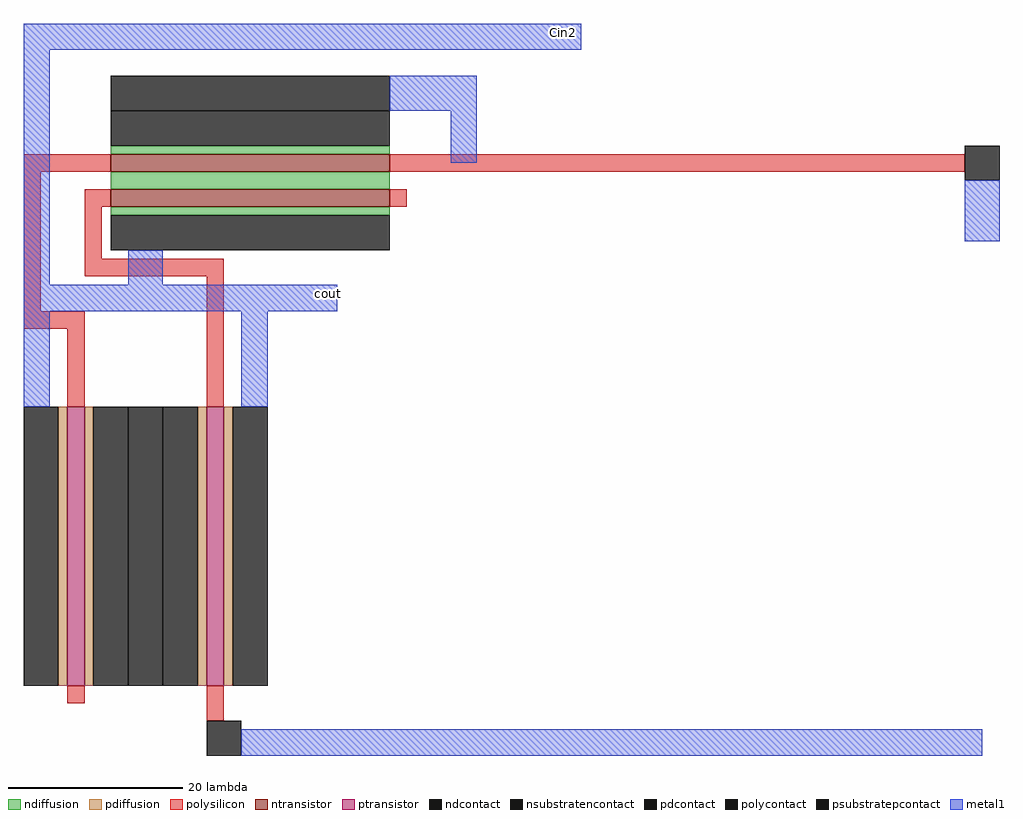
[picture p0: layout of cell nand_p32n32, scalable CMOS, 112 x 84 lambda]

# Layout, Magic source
magic
tech scmos
<< polysilicon >>
rect -15 30 -5 32
rect 27 30 93 32
rect -15 14 -13 30
rect -8 26 -5 28
rect 27 26 29 28
rect -8 20 -6 26
rect -8 18 8 20
rect -15 12 -8 14
rect -10 3 -8 12
rect 6 3 8 18
rect -10 -31 -8 -29
rect 6 -33 8 -29
<< ndiffusion >>
rect -5 32 27 33
rect -5 28 27 30
rect -5 25 27 26
<< pdiffusion >>
rect -11 -29 -10 3
rect -8 -29 -7 3
rect 5 -29 6 3
rect 8 -29 9 3
<< metal1 >>
rect -15 44 49 47
rect -15 17 -12 44
rect 27 37 37 41
rect 34 31 37 37
rect 93 22 97 29
rect -3 17 1 21
rect -15 14 21 17
rect -15 3 -12 14
rect 10 3 13 14
rect 10 -37 95 -34
<< ntransistor >>
rect -5 30 27 32
rect -5 26 27 28
<< ptransistor >>
rect -10 -29 -8 3
rect 6 -29 8 3
<< polycontact >>
rect 93 29 97 33
rect 6 -37 10 -33
<< ndcontact >>
rect -5 33 27 37
rect -5 21 27 25
<< pdcontact >>
rect -15 -29 -11 3
rect -7 -29 -3 3
rect 1 -29 5 3
rect 9 -29 13 3
<< psubstratepcontact >>
rect -5 37 27 41
<< nsubstratencontact >>
rect -3 -29 1 3
<< labels >>
rlabel metal1 20 16 20 16 7 cout
rlabel metal1 47 46 47 46 5 Cin2
<< end >>
